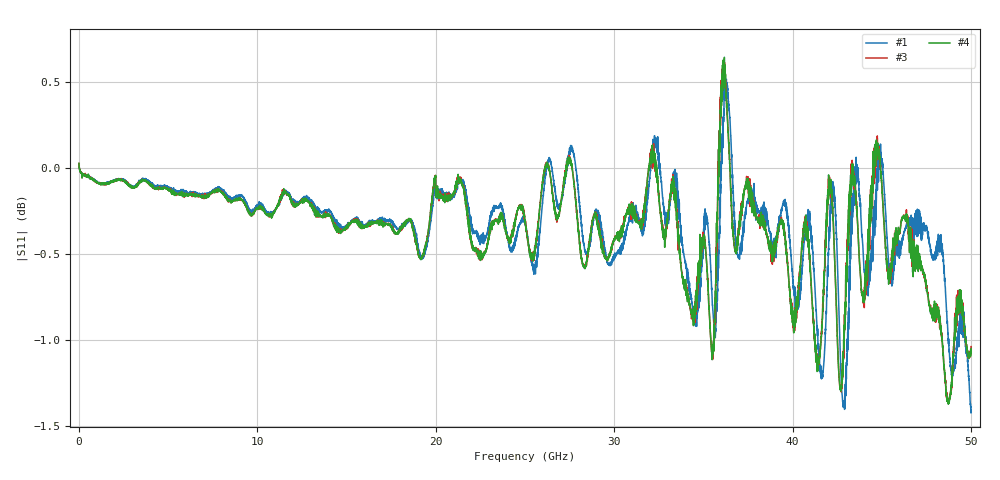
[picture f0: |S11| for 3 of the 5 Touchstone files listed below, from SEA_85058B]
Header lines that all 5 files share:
!Created with skrf (http://scikit-rf.org).
# Hz S RI R 50.0
!freq ReS11 ImS11
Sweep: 5.3 MHz to 50 GHz
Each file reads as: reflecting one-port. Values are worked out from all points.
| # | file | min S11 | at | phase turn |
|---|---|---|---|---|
| 1 | 85058B_FM_85058B_FSHORT3_FieldFox_mate1_swp1.s1p | -1.4 dB | 50 GHz | -3985 deg |
| 2 | 85058B_FM_85058B_FSHORT3_FieldFox_mate1_swp2.s1p | -1.4 dB | 50 GHz | -3985 deg |
| 3 | 85058B_FM_85058B_FSHORT4_FieldFox_mate1_swp0.s1p | -1.4 dB | 48.73 GHz | -4044 deg |
| 4 | 85058B_FM_85058B_FSHORT4_FieldFox_mate1_swp1.s1p | -1.4 dB | 48.74 GHz | -4044 deg |
| 5 | 85058B_FM_85058B_FSHORT4_FieldFox_mate1_swp2.s1p | -1.4 dB | 48.74 GHz | -4044 deg |
